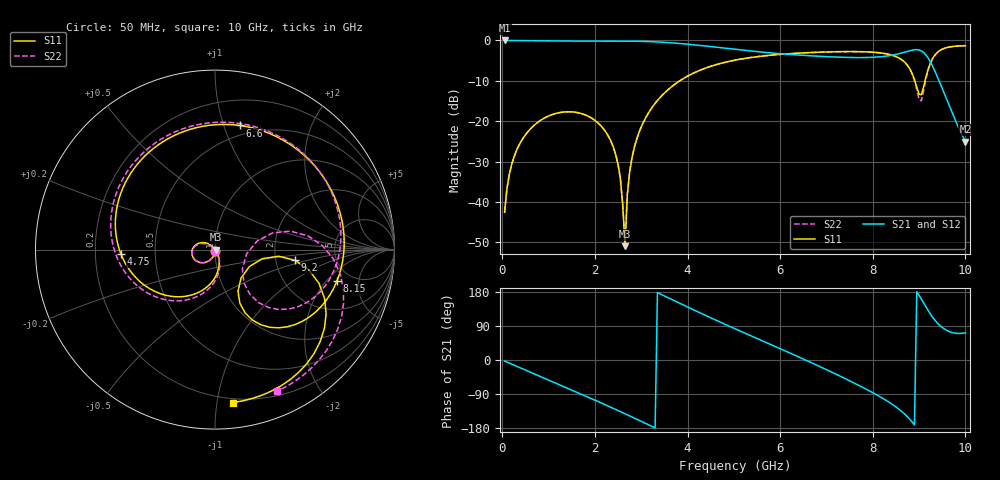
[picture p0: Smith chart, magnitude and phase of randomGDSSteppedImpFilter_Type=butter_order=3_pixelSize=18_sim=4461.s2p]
! freq	dB(S11)	phase(S11)	dB(S12)	phase(S12)
!  dB(S21)	phase(S21)	dB(S22)	phase(S22)
!S-par simulation data
#  GHz  S  DB  R 50
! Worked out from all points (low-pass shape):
!   200 points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, 50 MHz to 10 GHz, reference 50 ohm
!   highest |S21| = -0.01 dB at 50 MHz (marker M1); lowest = -25.0 dB at 10 GHz (marker M2)
!   |S21| within 3 dB of the highest: start of sweep to 5.719 GHz; 8.658 GHz to 9.1 GHz (442.4 MHz wide, 4.98 % of centre)
!   lowest |S11| = -50.9 dB at 2.65 GHz (marker M3), VSWR 1.01, Z = 50.3 + j0.00256 ohm
!   |S11| at or under -10 dB: start of sweep to 3.834 GHz; 8.909 GHz to 9.129 GHz (220.1 MHz wide, 2.44 % of centre)
!   |S22| runs from -49.5 to -1.3 dB; largest |S21 - S12| = 0
!   S11 on the Smith chart (normalised r, x): 50 MHz: 1.00, -0.01; 4.75 GHz: 0.31, -0.02; 6.6 GHz: 0.41, +1.13; 8.15 GHz: 3.79, -2.63; 9.2 GHz: 2.57, -0.39; 10 GHz: 0.17, -1.11
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0.05  -42.55 -84.6  -0.01 -2.7  -0.01 -2.7  -42.55 -84.6
0.2  -30.82 -99.3  -0.03 -10.7  -0.03 -10.7  -30.82 -99.1
0.55  -22.65 -119.9  -0.06 -29.3  -0.06 -29.3  -22.65 -119.2
1.75  -18.27 175.1  -0.17 -92.6  -0.17 -92.6  -18.28 178.0
2.45  -28.29 135.4  -0.16 -130.6  -0.16 -130.6  -28.35 142.5
2.55  -34.21 128.2  -0.16 -136.2  -0.16 -136.2  -34.33 139.7
2.65  -50.94 0.5  -0.17 -141.8  -0.17 -141.8  -49.49 -110.4
2.7  -38.30 -52.4  -0.17 -144.6  -0.17 -144.6  -37.99 -62.6
2.85  -26.56 -64.9  -0.20 -153.2  -0.20 -153.2  -26.48 -64.5
3.4  -14.23 -98.2  -0.41 174.9  -0.41 174.9  -14.20 -94.0
4.75  -5.59 -177.4  -1.86 97.5  -1.86 97.5  -5.58 -168.6
5.05  -4.83 165.7  -2.24 81.1  -2.24 81.1  -4.82 175.6
6.6  -3.03 78.7  -3.77 -3.0  -3.77 -3.0  -3.04 94.9
6.7  -2.98 73.0  -3.84 -8.5  -3.84 -8.5  -2.99 89.5
7.5  -2.76 26.0  -4.23 -54.8  -4.23 -54.8  -2.77 44.4
8.15  -3.08 -14.5  -4.07 -96.5  -4.07 -96.5  -3.07 3.6
8.35  -3.46 -28.2  -3.79 -111.3  -3.79 -111.3  -3.46 -10.5
8.95  -11.55 -61.0  -2.29 179.9  -2.29 179.9  -12.21 -49.0
9.05  -13.43 -26.5  -2.60 160.6  -2.60 160.6  -14.99 -7.8
9.2  -6.94 -7.6  -4.45 129.7  -4.45 129.7  -7.27 13.7
9.5  -2.17 -41.2  -11.91 85.9  -11.91 85.9  -2.20 -22.7
10  -1.33 -83.4  -25.04 71.7  -25.04 71.7  -1.29 -66.3
